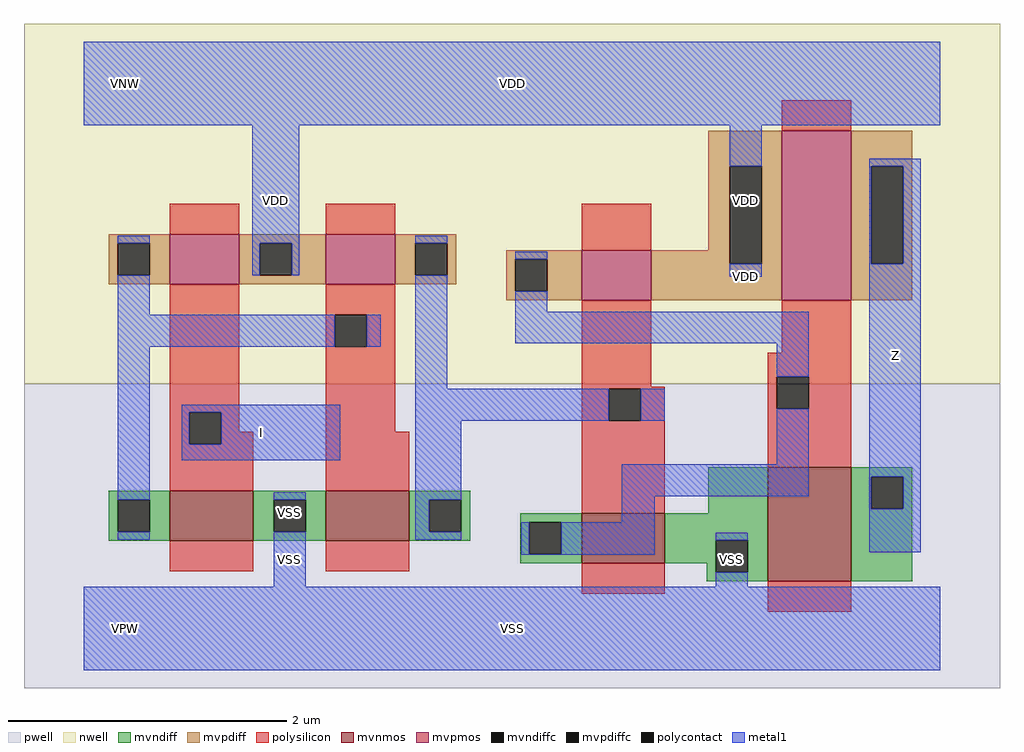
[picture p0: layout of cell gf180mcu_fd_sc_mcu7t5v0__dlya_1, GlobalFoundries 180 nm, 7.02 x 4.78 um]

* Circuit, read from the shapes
.subckt gf180mcu_fd_sc_mcu7t5v0__dlya_1 I Z VDD VNW VPW VSS
XM1 VSS I n1 VPW nfet_06v0 w=0.36u l=0.6u
XM2 n2 n1 VSS VPW nfet_06v0 w=0.36u l=0.6u
XM3 VSS n2 n3 VPW nfet_06v0 w=0.36u l=0.6u
XM4 Z n3 VSS VPW nfet_06v0 w=0.82u l=0.6u
XM5 VDD I n1 VNW pfet_06v0 w=0.36u l=0.5u
XM6 n2 n1 VDD VNW pfet_06v0 w=0.36u l=0.5u
XM7 VDD n2 n3 VNW pfet_06v0 w=0.36u l=0.5u
XM8 Z n3 VDD VNW pfet_06v0 w=1.22u l=0.5u
.ends

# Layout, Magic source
magic
tech gf180mcuD
magscale 1 10
<< nwell >>
rect -86 352 1318 870
<< pwell >>
rect -86 -86 1318 352
<< mvnmos >>
rect 124 126 244 198
rect 348 126 468 198
rect 716 94 836 166
rect 984 68 1104 232
<< mvpmos >>
rect 124 495 224 567
rect 348 495 448 567
rect 716 472 816 544
rect 1004 472 1104 716
<< mvndiff >>
rect 36 185 124 198
rect 36 139 49 185
rect 95 139 124 185
rect 36 126 124 139
rect 244 185 348 198
rect 244 139 273 185
rect 319 139 348 185
rect 244 126 348 139
rect 468 185 556 198
rect 468 139 497 185
rect 543 139 556 185
rect 898 166 984 232
rect 468 126 556 139
rect 628 153 716 166
rect 628 107 641 153
rect 687 107 716 153
rect 628 94 716 107
rect 836 127 984 166
rect 836 94 909 127
rect 896 81 909 94
rect 955 81 984 127
rect 896 68 984 81
rect 1104 218 1192 232
rect 1104 172 1133 218
rect 1179 172 1192 218
rect 1104 68 1192 172
<< mvpdiff >>
rect 898 665 1004 716
rect 36 554 124 567
rect 36 508 49 554
rect 95 508 124 554
rect 36 495 124 508
rect 224 554 348 567
rect 224 508 253 554
rect 299 508 348 554
rect 224 495 348 508
rect 448 554 536 567
rect 448 508 477 554
rect 523 508 536 554
rect 898 544 929 665
rect 448 495 536 508
rect 608 531 716 544
rect 608 485 621 531
rect 667 485 716 531
rect 608 472 716 485
rect 816 525 929 544
rect 975 525 1004 665
rect 816 472 1004 525
rect 1104 665 1192 716
rect 1104 525 1133 665
rect 1179 525 1192 665
rect 1104 472 1192 525
<< mvndiffc >>
rect 49 139 95 185
rect 273 139 319 185
rect 497 139 543 185
rect 641 107 687 153
rect 909 81 955 127
rect 1133 172 1179 218
<< mvpdiffc >>
rect 49 508 95 554
rect 253 508 299 554
rect 477 508 523 554
rect 621 485 667 531
rect 929 525 975 665
rect 1133 525 1179 665
<< polysilicon >>
rect 1004 716 1104 760
rect 124 567 224 611
rect 348 567 448 611
rect 716 544 816 611
rect 124 311 224 495
rect 124 265 152 311
rect 198 283 224 311
rect 348 451 448 495
rect 348 405 361 451
rect 407 405 448 451
rect 348 283 448 405
rect 716 348 816 472
rect 1004 397 1104 472
rect 984 362 1104 397
rect 716 345 836 348
rect 716 299 755 345
rect 801 299 836 345
rect 198 265 244 283
rect 124 198 244 265
rect 348 198 468 283
rect 716 166 836 299
rect 984 316 997 362
rect 1043 316 1104 362
rect 984 232 1104 316
rect 124 82 244 126
rect 348 82 468 126
rect 716 50 836 94
rect 984 24 1104 68
<< polycontact >>
rect 152 265 198 311
rect 361 405 407 451
rect 755 299 801 345
rect 997 316 1043 362
<< metal1 >>
rect 0 724 1232 844
rect 49 554 95 565
rect 242 554 310 724
rect 929 665 975 724
rect 242 508 253 554
rect 299 508 310 554
rect 477 554 523 565
rect 49 451 95 508
rect 49 405 361 451
rect 407 405 427 451
rect 49 185 95 405
rect 477 345 523 508
rect 621 531 667 542
rect 929 506 975 525
rect 1130 665 1204 676
rect 1130 525 1133 665
rect 1179 525 1204 665
rect 621 456 667 485
rect 621 410 1043 456
rect 997 362 1043 410
rect 141 311 369 322
rect 141 265 152 311
rect 198 265 369 311
rect 141 242 369 265
rect 477 299 755 345
rect 801 299 836 345
rect 49 128 95 139
rect 273 185 319 196
rect 273 60 319 139
rect 477 185 543 299
rect 997 236 1043 316
rect 477 139 497 185
rect 774 190 1043 236
rect 1130 218 1204 525
rect 774 153 821 190
rect 477 128 543 139
rect 629 107 641 153
rect 687 107 821 153
rect 1130 172 1133 218
rect 1179 172 1204 218
rect 629 106 821 107
rect 909 127 955 138
rect 1130 110 1204 172
rect 909 60 955 81
rect 0 -60 1232 60
<< labels >>
flabel metal1 s 273 138 319 196 0 FreeSans 400 0 0 0 VSS
port 6 nsew ground bidirectional abutment
flabel metal1 s 1130 110 1204 676 0 FreeSans 400 0 0 0 Z
port 2 nsew default output
flabel metal1 s 141 242 369 322 0 FreeSans 400 0 0 0 I
port 1 nsew default input
flabel metal1 s 0 724 1232 844 0 FreeSans 400 0 0 0 VDD
port 3 nsew power bidirectional abutment
flabel nwell s 10 734 110 834 0 FreeSans 400 0 0 0 VNW
port 4 nsew power bidirectional
flabel pwell s 10 -50 110 50 0 FreeSans 400 0 0 0 VPW
port 5 nsew ground bidirectional
rlabel metal1 s 929 508 975 724 1 VDD
port 3 nsew power bidirectional abutment
rlabel metal1 s 242 508 310 724 1 VDD
port 3 nsew power bidirectional abutment
rlabel metal1 s 929 506 975 508 1 VDD
port 3 nsew power bidirectional abutment
rlabel metal1 s 909 60 955 138 1 VSS
port 6 nsew ground bidirectional abutment
rlabel metal1 s 273 60 319 138 1 VSS
port 6 nsew ground bidirectional abutment
rlabel metal1 s 0 -60 1232 60 1 VSS
port 6 nsew ground bidirectional abutment
<< properties >>
string FIXED_BBOX 0 0 1232 784
string GDS_END 1081072
string GDS_FILE $PDKPATH/libs.ref/gf180mcu_fd_sc_mcu7t5v0/gds/gf180mcu_fd_sc_mcu7t5v0.gds
string GDS_START 1077420
string LEFclass core
string LEFsite GF018hv5v_mcu_sc7
string LEFsymmetry X Y
<< end >>
